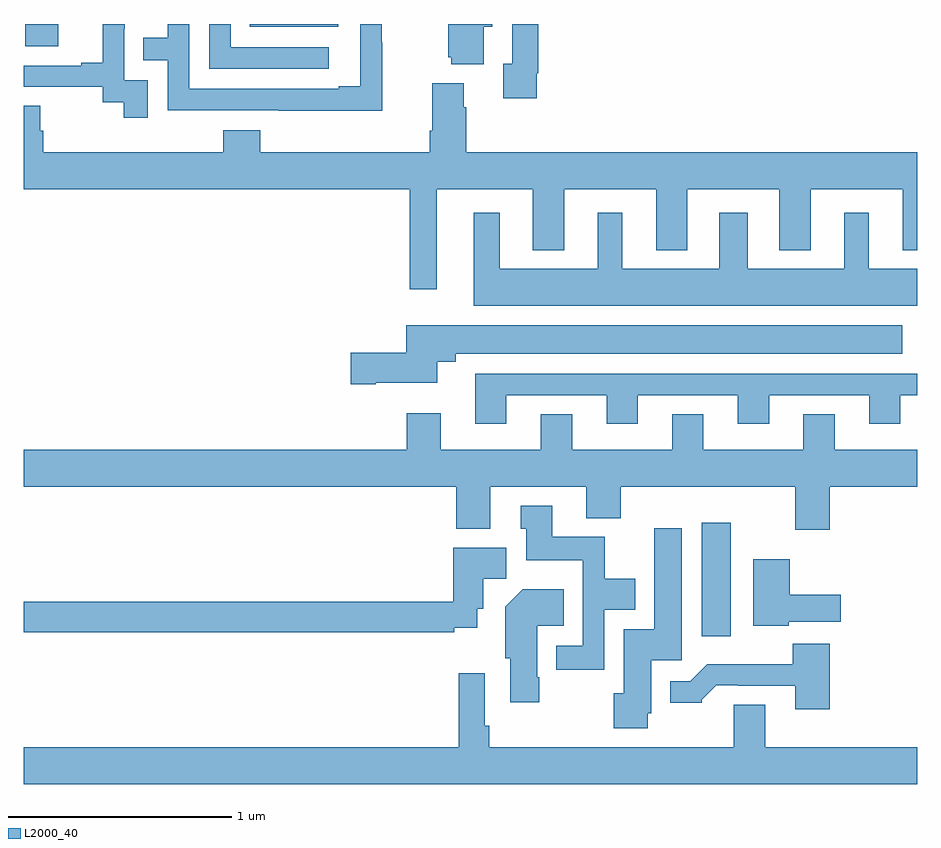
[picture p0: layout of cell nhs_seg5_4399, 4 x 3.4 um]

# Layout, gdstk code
import gdstk
lib = gdstk.Library(unit=1e-6, precision=1e-09)
def R(c, l, rs):  # rectangles x0, y0, x1, y1
    for r in rs: c.add(gdstk.rectangle(r[:2], r[2:], *l))
def P(c, l, *ps):  # polygons
    for p in ps: c.add(gdstk.Polygon(p, *l))
L2000_40 = (2000, 40)

nhs_seg5_4399 = lib.new_cell('nhs_seg5_4399')
R(nhs_seg5_4399, L2000_40, [(372.035,888.057,372.166,888.565), (369.006,890.7,369.154,890.799), (370.012,890.786,370.408,890.799)])
P(nhs_seg5_4399, L2000_40, [(369.555,890.547),(369.45,890.547),(369.45,890.777),(369.452,890.777),(369.452,890.799),(369.353,890.799),(369.353,890.626),(369.257,890.626),(369.257,890.613),(369,890.613),(369,890.517),(369.354,890.517),(369.354,890.449),(369.447,890.449),(369.447,890.379),(369.555,890.379)],
  [(370.366,890.694),(369.927,890.694),(369.927,890.799),(369.831,890.799),(369.831,890.598),(370.366,890.598)],
  [(371.296,890.578),(371.303,890.578),(371.303,890.799),(371.187,890.799),(371.187,890.622),(371.147,890.622),(371.147,890.466),(371.296,890.466)],
  [(371.059,890.786),(371.098,890.786),(371.098,890.799),(370.901,890.799),(370.901,890.649),(370.913,890.649),(370.913,890.618),(371.059,890.618)],
  [(370.605,890.717),(370.602,890.717),(370.602,890.799),(370.506,890.799),(370.506,890.521),(370.409,890.521),(370.409,890.508),(369.741,890.508),(369.741,890.799),(369.645,890.799),(369.645,890.738),(369.535,890.738),(369.535,890.637),(369.645,890.637),(369.645,890.412),(370.141,890.412),(370.141,890.411),(370.605,890.411)],
  [(370.849,890.06),(371.279,890.06),(371.279,889.787),(371.419,889.787),(371.419,890.06),(371.831,890.06),(371.831,889.787),(371.971,889.787),(371.971,890.06),(372.383,890.06),(372.383,889.787),(372.523,889.787),(372.523,890.06),(372.935,890.06),(372.935,889.787),(373,889.787),(373,890.224),(370.982,890.224),(370.982,890.426),(370.969,890.426),(370.969,890.533),(370.829,890.533),(370.829,890.32),(370.817,890.32),(370.817,890.224),(370.058,890.224),(370.058,890.323),(369.893,890.323),(369.893,890.224),(369.086,890.224),(369.086,890.322),(369.073,890.322),(369.073,890.432),(369,890.432),(369,890.06),(370.728,890.06),(370.728,889.611),(370.849,889.611)],
  [(373,889.702),(372.784,889.702),(372.784,889.954),(372.674,889.954),(372.674,889.702),(372.241,889.702),(372.241,889.954),(372.113,889.954),(372.113,889.702),(371.68,889.702),(371.68,889.954),(371.57,889.954),(371.57,889.702),(371.131,889.702),(371.131,889.954),(371.015,889.954),(371.015,889.538),(373,889.538)],
  [(370.576,889.193),(370.852,889.193),(370.852,889.286),(370.933,889.286),(370.933,889.322),(372.934,889.322),(372.934,889.45),(370.712,889.45),(370.712,889.328),(370.464,889.328),(370.464,889.186),(370.576,889.186)],
  [(371.161,889.137),(371.609,889.137),(371.609,889.008),(371.749,889.008),(371.749,889.137),(372.197,889.137),(372.197,889.008),(372.337,889.008),(372.337,889.137),(372.785,889.137),(372.785,889.008),(372.925,889.008),(372.925,889.137),(373,889.137),(373,889.233),(371.021,889.233),(371.021,889.008),(371.161,889.008)],
  [(372.608,888.728),(373,888.728),(373,888.892),(372.631,888.892),(372.631,889.052),(372.491,889.052),(372.491,888.892),(372.043,888.892),(372.043,889.052),(371.903,889.052),(371.903,888.892),(371.455,888.892),(371.455,889.052),(371.315,889.052),(371.315,888.892),(370.867,888.892),(370.867,889.057),(370.715,889.057),(370.715,888.892),(369,888.892),(369,888.728),(370.937,888.728),(370.937,888.539),(371.089,888.539),(371.089,888.728),(371.519,888.728),(371.519,888.587),(371.672,888.587),(371.672,888.728),(372.455,888.728),(372.455,888.534),(372.608,888.534)],
  [(371.598,888.176),(371.737,888.176),(371.737,888.316),(371.601,888.316),(371.601,888.502),(371.365,888.502),(371.365,888.643),(371.225,888.643),(371.225,888.54),(371.249,888.54),(371.249,888.398),(371.502,888.398),(371.502,888.015),(371.385,888.015),(371.385,887.907),(371.598,887.907)],
  [(371.793,887.712),(371.809,887.712),(371.809,887.949),(371.947,887.949),(371.947,888.541),(371.822,888.541),(371.822,888.088),(371.687,888.088),(371.687,887.802),(371.641,887.802),(371.641,887.646),(371.793,887.646)],
  [(370.928,888.095),(371.031,888.095),(371.031,888.18),(371.056,888.18),(371.056,888.316),(371.161,888.316),(371.161,888.454),(370.922,888.454),(370.922,888.212),(369,888.212),(369,888.076),(370.928,888.076)],
  [(372.426,888.122),(372.658,888.122),(372.658,888.244),(372.43,888.244),(372.43,888.403),(372.266,888.403),(372.266,888.104),(372.426,888.104)],
  [(371.307,887.875),(371.299,887.875),(371.299,888.104),(371.417,888.104),(371.417,888.268),(371.234,888.268),(371.156,888.19),(371.156,887.958),(371.177,887.958),(371.177,887.763),(371.307,887.763)],
  [(372.608,888.025),(372.443,888.025),(372.443,887.932),(372.061,887.932),(371.985,887.856),(371.894,887.856),(371.894,887.759),(372.036,887.759),(372.036,887.774),(372.1,887.838),(372.199,887.838),(372.199,887.835),(372.455,887.835),(372.455,887.73),(372.608,887.73)],
  [(373,887.56),(372.319,887.56),(372.319,887.75),(372.179,887.75),(372.179,887.56),(371.084,887.56),(371.084,887.656),(371.064,887.656),(371.064,887.893),(370.948,887.893),(370.948,887.56),(369,887.56),(369,887.396),(373,887.396)])

lib.write_gds('nhs_seg5_4399.gds')
